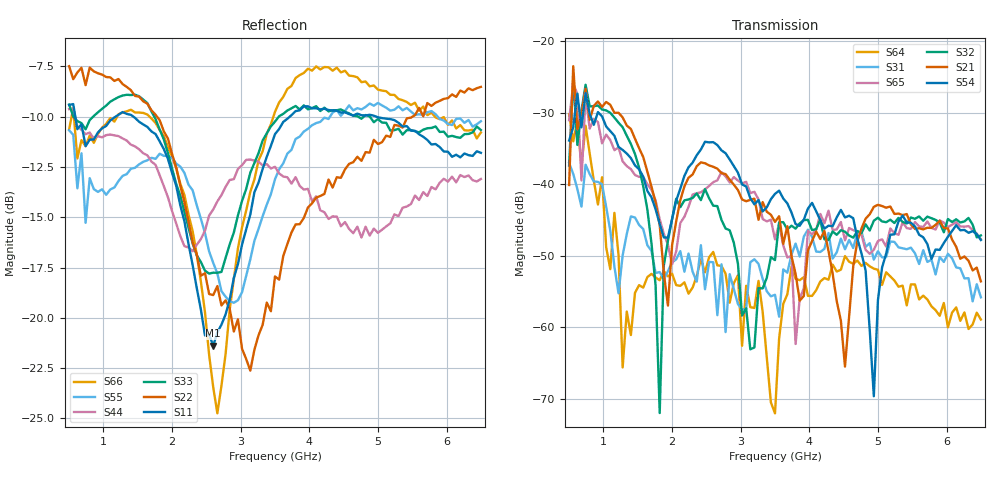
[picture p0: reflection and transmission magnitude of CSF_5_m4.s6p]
!Keysight Technologies,M9804A,MY58100912,A.14.10.03
!Date: Thursday, April 27, 2023 10:28:33
!Correction: S11(C  6-Port  )
!S12(C  6-Port  )
!S13(C  6-Port  )
!S14(C  6-Port  )
!S15(C  6-Port  )
!S16(C  6-Port  )
!S21(C  6-Port  )
!S22(C  6-Port  )
!S23(C  6-Port  )
!S24(C  6-Port  )
!S25(C  6-Port  )
!S26(C  6-Port  )
!S31(C  6-Port  )
!S32(C  6-Port  )
!S33(C  6-Port  )
!S34(C  6-Port  )
!S35(C  6-Port  )
!S36(C  6-Port  )
!S41(C  6-Port  )
!S42(C  6-Port  )
!S43(C  6-Port  )
!S44(C  6-Port  )
!S45(C  6-Port  )
!S46(C  6-Port  )
!S51(C  6-Port  )
!S52(C  6-Port  )
!S53(C  6-Port  )
!S54(C  6-Port  )
!S55(C  6-Port  )
!S56(C  6-Port  )
!S61(C  6-Port  )
!S62(C  6-Port  )
!S63(C  6-Port  )
!S64(C  6-Port  )
!S65(C  6-Port  )
!S66(C  6-Port  )
!S6P File: Measurement: :
# Hz S  RI  R 50
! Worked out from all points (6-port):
!   101 points, 500 MHz to 6.5 GHz, reference 50 ohm
!   strongest paths, dB at 500 MHz, 2 GHz, 3.5 GHz, 5 GHz, 6.5 GHz:
!     S54: -33.9, -44.9, -41.3, -56.2, -47.8
!     S21: -40.1, -48.5, -45.2, -42.9, -53.6
!     S32: -37.4, -44.9, -50.6, -44.7, -47.1
!     S65: -31.0, -51.2, -47.7, -47.9, -47.7
!     S31: -37.0, -50.9, -55.4, -49.4, -55.8
!     S64: -30.2, -52.5, -72.0, -51.9, -58.9
!   lowest |S11| = -21.4 dB at 2.6 GHz (marker M1), VSWR 1.19, Z = 42.4 + j2.19 ohm
!   |S11| at or under -10 dB: 590.3 MHz to 1.175 GHz (584.3 MHz wide, 66.2 % of centre); 1.438 GHz to 3.714 GHz (2.275 GHz wide, 88.3 % of centre); 4.979 GHz to end of sweep
